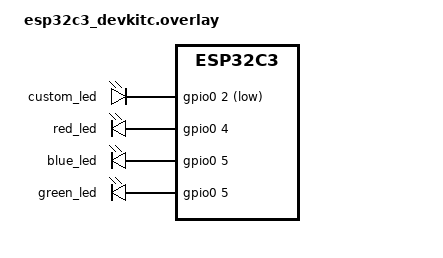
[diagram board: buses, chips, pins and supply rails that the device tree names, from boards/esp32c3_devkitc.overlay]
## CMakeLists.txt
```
cmake_minimum_required(VERSION 3.20.0)

set(DTC_OVERLAY_FILE
    ${CMAKE_CURRENT_SOURCE_DIR}/boards/esp32c3_devkitc.overlay
    ${CMAKE_CURRENT_SOURCE_DIR}/app.overlay
)

list(APPEND DTS_ROOT ${CMAKE_CURRENT_SOURCE_DIR})

find_package(Zephyr REQUIRED)
project(my_zephyr_app)

target_include_directories(app PRIVATE ${CMAKE_CURRENT_SOURCE_DIR})

target_sources(app PRIVATE
    src/main.cpp
    src/sensor_shell.c
    drivers/sensor/led_sensor/led_sensor.c
)
```

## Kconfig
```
mainmenu "Zephyr Course Application"

rsource "drivers/sensor/led_sensor/Kconfig"

menuconfig LED_SUBSYSTEM
	bool "LED Subsystem"
	default y
	help
	  Enable the LED subsystem for controlling LED behavior.

if LED_SUBSYSTEM

choice LED_BLINK_SLEEP_TIME
	prompt "LED blink sleep time"
	default LED_BLINK_SLEEP_1S
	help
	  Select the blink interval for the LED.

config LED_BLINK_SLEEP_250MS
	bool "250ms (fast)"

config LED_BLINK_SLEEP_500MS
	bool "500ms (medium-fast)"

config LED_BLINK_SLEEP_1S
	bool "1s (medium)"

config LED_BLINK_SLEEP_2S
	bool "2s (slow)"

endchoice

# Hidden int symbol that holds the actual ms value
config LED_BLINK_SLEEP_MS
	int
	default 250  if LED_BLINK_SLEEP_250MS
	default 500  if LED_BLINK_SLEEP_500MS
	default 1000 if LED_BLINK_SLEEP_1S
	default 2000 if LED_BLINK_SLEEP_2S

menuconfig LED_ADVANCED
	bool "Advanced LED settings"
	default n

if LED_ADVANCED

config LED_BRIGHTNESS
	int "LED brightness (0-100)"
	range 0 100
	default 100
	help
	  Set the LED brightness level as a percentage.

config LED_FADE_DURATION
	int "LED fade duration (ms)"
	range 0 5000
	default 500
	help
	  Duration of the LED fade effect in milliseconds.

menu "Expert settings"
	visible if LED_ADVANCED

config LED_DEBUG
	bool "Enable LED debugging"
	default n
	help
	  Enable debug logging for the LED subsystem.

config LED_CUSTOM_BLINK
	bool "Custom blink pattern"
	default n
	help
	  Enable a custom LED blink pattern defined by the application.

endmenu

endif # LED_ADVANCED

endif # LED_SUBSYSTEM

config APP_HEARTBEAT_PERIOD_MS
	int "Heartbeat LED period (ms)"
	range 100 2000
	default 500
	help
	  Blink period for the heartbeat LED in milliseconds.
	  Lower values blink faster; higher values blink slower.

source "Kconfig.zephyr"
```

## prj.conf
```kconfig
CONFIG_GPIO=y
CONFIG_LOG=y
CONFIG_SERIAL=y
CONFIG_CONSOLE=y
CONFIG_UART_CONSOLE=y
CONFIG_LOG_MODE_IMMEDIATE=y
CONFIG_SENSOR=y

# Shell support
CONFIG_SHELL=y
CONFIG_SHELL_BACKEND_SERIAL=y
```

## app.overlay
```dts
/ {
    aliases {
        app-led = &custom_led;
    };

    led_sensor_node: led_sensor {
        compatible = "zephyr,led-sensor";
        gpios = <&gpio0 2 GPIO_ACTIVE_LOW>;
        status = "okay";
    };
};
```

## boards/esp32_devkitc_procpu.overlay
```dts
/ {
    aliases {
        led0 = &custom_led;
    };

    leds {
        compatible = "gpio-leds";
        custom_led: led_0 {
            gpios = <&gpio0 2 GPIO_ACTIVE_HIGH>;
        };
    };
};
```

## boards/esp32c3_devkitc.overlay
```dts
/{
   aliases {
        led0 = &custom_led;
        led1 = &red_led;
        led2 = &green_led;
    };

   leds {
        compatible = "gpio-leds";
        custom_led: led_0 {
            gpios = <&gpio0 2 GPIO_ACTIVE_LOW>;
        };
        red_led: led_1 {
            gpios = <&gpio0 4 GPIO_ACTIVE_HIGH>;  /* GPIO4 — red LED (GPIO3 is UART RX, avoid) */
        };

        blue_led: led_2 {
            gpios = <&gpio0 5 GPIO_ACTIVE_HIGH>;  /* GPIO5 — blue LED */
        };

        green_led: led_3 {
            gpios = <&gpio0 5 GPIO_ACTIVE_HIGH>;  /* GPIO5 — green LED via ~100Ω resistor */
        };

    };

};
```

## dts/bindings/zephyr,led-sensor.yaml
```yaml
# Copyright (c) 2024 My Project
# SPDX-License-Identifier: Apache-2.0

description: LED exposed as a sensor device

compatible: "zephyr,led-sensor"

include: base.yaml

properties:
  gpios:
    type: phandle-array
    required: true
    description: GPIO connected to the LED
```

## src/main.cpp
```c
#include <zephyr/kernel.h>
#include <zephyr/drivers/sensor.h>
#include <zephyr/logging/log.h>

#include "drivers/sensor/led_sensor/led_sensor.h"

LOG_MODULE_REGISTER(main, LOG_LEVEL_INF);

static const struct device *led_sensor = DEVICE_DT_GET(DT_NODELABEL(led_sensor_node));

int main(void) {
  if (!device_is_ready(led_sensor)) {
    LOG_ERR("LED sensor device not ready");
    return 0;
  }

  LOG_INF("LED sensor ready. Use shell: 'sensor fetch|read|info'");
  return 0;
}
```

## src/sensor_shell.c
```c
/*
 * Copyright (c) 2024 My Project
 * SPDX-License-Identifier: Apache-2.0
 *
 * Shell commands for the LED sensor driver.
 *
 * Usage:
 *   sensor fetch          -- calls sensor_sample_fetch() (turns LED ON)
 *   sensor read           -- calls sensor_channel_get()  (turns LED OFF, prints value)
 *   sensor info           -- prints device name and ready state
 *   sensor set <ms>       -- calls led_sensor_set_blink_interval() (1-60000 ms)
 */

#include <zephyr/kernel.h>
#include <zephyr/shell/shell.h>
#include <zephyr/drivers/sensor.h>
#include <zephyr/device.h>
#include <zephyr/devicetree.h>
#include <stdlib.h>

#include "drivers/sensor/led_sensor/led_sensor.h"

static const struct device *led_sensor_dev =
	DEVICE_DT_GET(DT_NODELABEL(led_sensor_node));

#define SET_INTERVAL_MIN 1U
#define SET_INTERVAL_MAX 60000U

/* sensor fetch */
static int cmd_sensor_fetch(const struct shell *sh, size_t argc, char **argv)
{
	ARG_UNUSED(argc);
	ARG_UNUSED(argv);

	int ret = sensor_sample_fetch(led_sensor_dev);

	if (ret < 0) {
		shell_error(sh, "sensor_sample_fetch() failed: %d", ret);
		return ret;
	}

	shell_print(sh, "sensor_sample_fetch() OK (LED ON)");
	return 0;
}

/* sensor read */
static int cmd_sensor_read(const struct shell *sh, size_t argc, char **argv)
{
	ARG_UNUSED(argc);
	ARG_UNUSED(argv);

	struct sensor_value val;
	int ret = sensor_channel_get(led_sensor_dev, SENSOR_CHAN_LIGHT, &val);

	if (ret < 0) {
		shell_error(sh, "sensor_channel_get() failed: %d", ret);
		return ret;
	}

	shell_print(sh, "SENSOR_CHAN_LIGHT: val1=%d, val2=%d (LED OFF)",
		    val.val1, val.val2);
	return 0;
}

/* sensor set <interval_ms> */
static int cmd_sensor_set(const struct shell *sh, size_t argc, char **argv)
{
	/* SHELL_CMD_ARG enforces argc >= 2, but guard for out-of-range */
	if (argc < 2) {
		shell_error(sh, "Usage: sensor set <interval_ms> (%u-%u ms)",
			    SET_INTERVAL_MIN, SET_INTERVAL_MAX);
		return -EINVAL;
	}

	char *end;
	unsigned long val = strtoul(argv[1], &end, 10);

	if (*end != '\0') {
		shell_error(sh, "Invalid number: '%s'", argv[1]);
		return -EINVAL;
	}

	if (val < SET_INTERVAL_MIN || val > SET_INTERVAL_MAX) {
		shell_error(sh, "Value %lu out of range [%u, %u]",
			    val, SET_INTERVAL_MIN, SET_INTERVAL_MAX);
		return -EINVAL;
	}

	int ret = led_sensor_set_blink_interval(led_sensor_dev, (uint32_t)val);

	if (ret < 0) {
		shell_error(sh, "led_sensor_set_blink_interval() failed: %d", ret);
		return ret;
	}

	shell_print(sh, "blink_interval_ms set to %lu ms", val);
	return 0;
}

/* sensor info */
static int cmd_sensor_info(const struct shell *sh, size_t argc, char **argv)
{
	ARG_UNUSED(argc);
	ARG_UNUSED(argv);

	shell_print(sh, "Device name : %s", led_sensor_dev->name);
	shell_print(sh, "Ready       : %s",
		    device_is_ready(led_sensor_dev) ? "yes" : "no");
	return 0;
}

SHELL_STATIC_SUBCMD_SET_CREATE(sub_sensor,
	SHELL_CMD(fetch, NULL,
		  "Call sensor_sample_fetch() -- turns LED ON",
		  cmd_sensor_fetch),
	SHELL_CMD(read,  NULL,
		  "Call sensor_channel_get() and print result -- turns LED OFF",
		  cmd_sensor_read),
	SHELL_CMD(info,  NULL,
		  "Print device name and ready state",
		  cmd_sensor_info),
	SHELL_CMD_ARG(set, NULL,
		      "Set blink interval: sensor set <interval_ms> (1-60000)",
		      cmd_sensor_set, 2, 0),
	SHELL_SUBCMD_SET_END
);

SHELL_CMD_REGISTER(sensor, &sub_sensor, "LED sensor commands", NULL);
```
